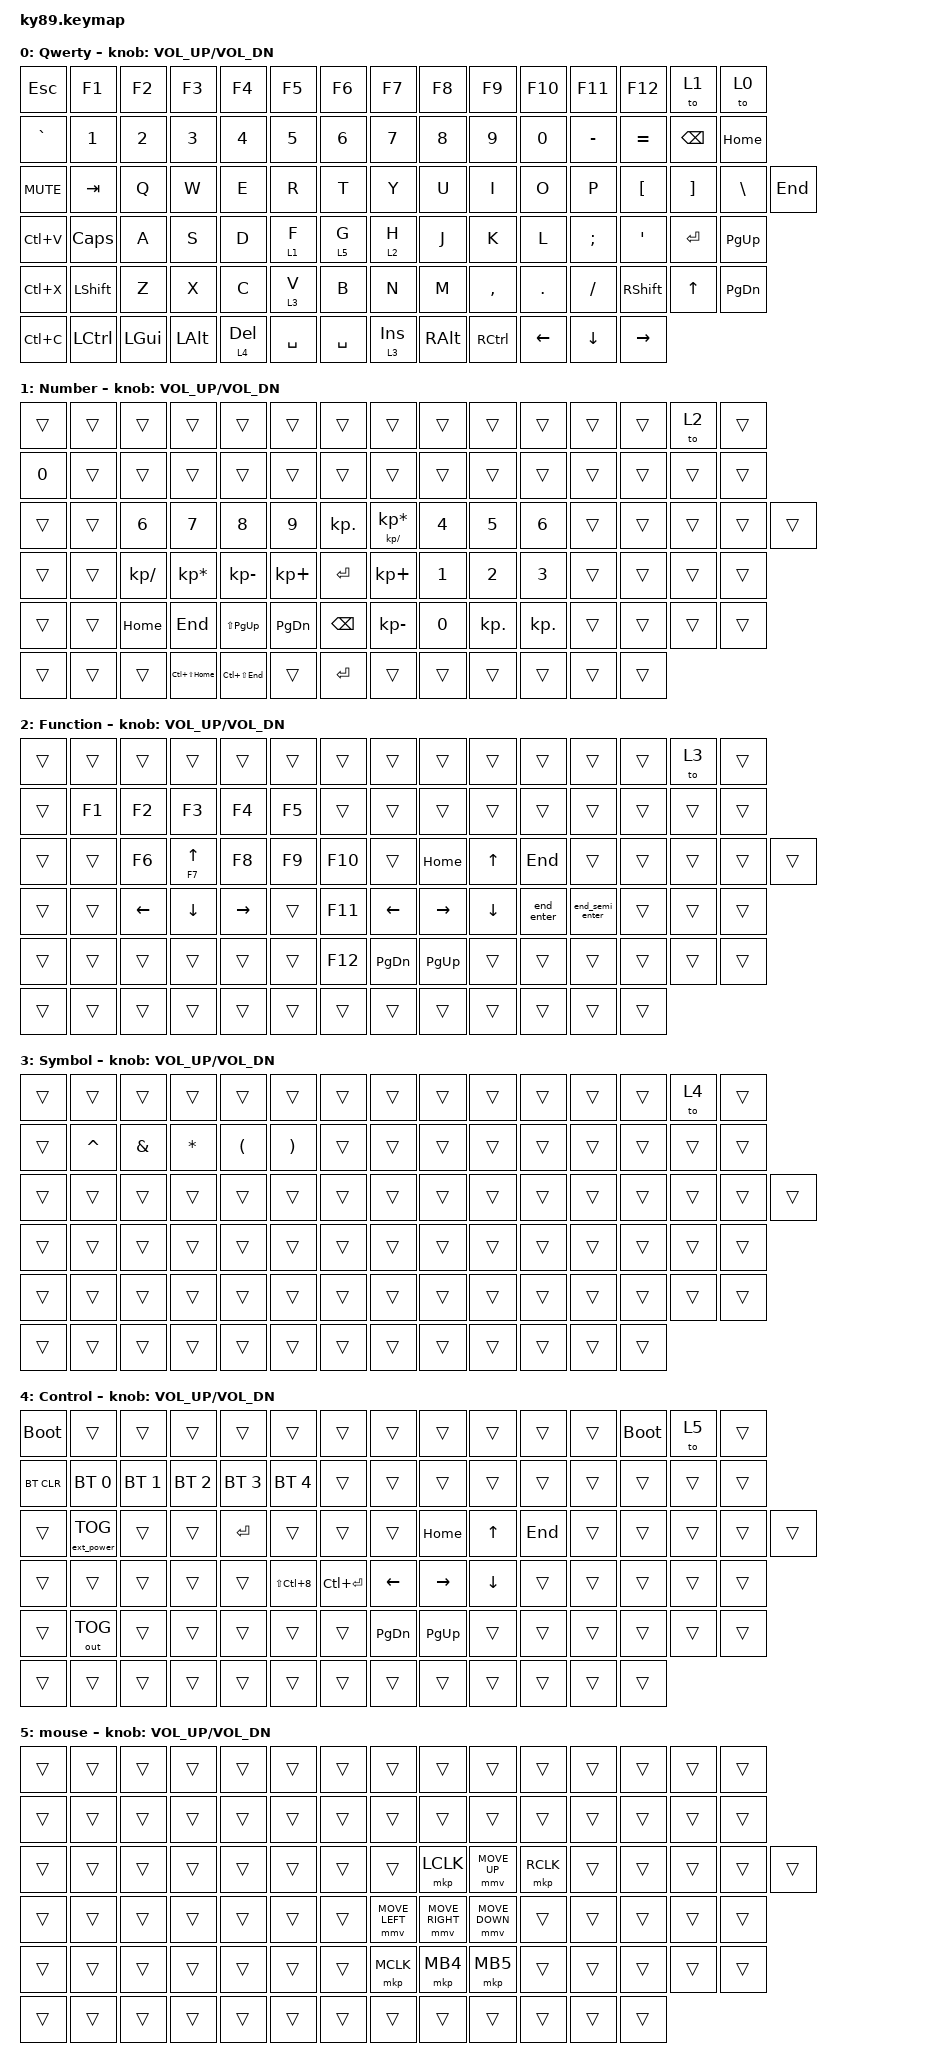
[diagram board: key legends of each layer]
/*
 * Copyright (c) 2023 The ZMK Contributors
 *
 * SPDX-License-Identifier: MIT
 */

#include <behaviors/mouse_keys.dtsi>
#include <dt-bindings/zmk/mouse.h>
#include <behaviors.dtsi>
#include <dt-bindings/zmk/bt.h>
#include <dt-bindings/zmk/ext_power.h>
#include <dt-bindings/zmk/keys.h>
#include <dt-bindings/zmk/outputs.h>
#include <dt-bindings/zmk/pointing.h>
#include <dt-bindings/zmk/pointing.h>

#define ZMK_MOUSE_DEFAULT_MOVE_VAL 1200  // 600
#define ZMK_MOUSE_DEFAULT_SCRL_VAL 20    // 10
#define U_MS_U &mmv MOVE_UP
#define U_MS_D &mmv MOVE_DOWN
#define U_MS_L &mmv MOVE_LEFT
#define U_MS_R &mmv MOVE_RIGHT
#define ZMK_MOUSE_DEFAULT_MOVE_VAL 1200  //  600
#define ZMK_MOUSE_DEFAULT_SCRL_VAL 20    // 10

/ {
    macros {
        end_enter: end_enter {
            compatible = "zmk,behavior-macro";
            #binding-cells = <0>;
            bindings = <&kp END &kp ENTER>;
            label = "END_ENTER";
        };

        end_semi_enter: end_semi_enter {
            compatible = "zmk,behavior-macro";
            #binding-cells = <0>;
            bindings = <&kp END &kp SEMI &kp ENTER>;
            label = "END_SEMI_ENTER";
        };
    };

    behaviors {
        hm: homerow_mods {
            compatible = "zmk,behavior-hold-tap";
            #binding-cells = <2>;
            tapping-term-ms = <200>;
            quick-tap-ms = <0>;
            flavor = "tap-preferred";
            bindings = <&kp>, <&kp>;

            label = "HOMEROW_MODS";
        };

        ltq: ltq {
            compatible = "zmk,behavior-hold-tap";
            label = "LTQ";
            bindings = <&mo>, <&kp>;

            #binding-cells = <2>;
            tapping-term-ms = <500>;
            quick-tap-ms = <200>;
            flavor = "tap-preferred";
        };

        as: auto_shift {
            compatible = "zmk,behavior-hold-tap";
            #binding-cells = <2>;
            tapping-term-ms = <200>;
            quick-tap-ms = <0>;
            label = "AUTO_SHIFT";
            flavor = "tap-preferred";
            bindings = <&kp>, <&kp>;
        };
    };

    combos {
        compatible = "zmk,combos";

        esc {
            bindings = <&kp ESCAPE>;
            key-positions = <15 16>;
        };

        bkt_left {
            bindings = <&mt RIGHT_BRACKET LEFT_BRACKET>;
            key-positions = <35 36>;
        };

        bkt_right {
            bindings = <&mt LEFT_BRACKET RIGHT_BRACKET>;
            key-positions = <37 38>;
        };

        par_left {
            bindings = <&mt RIGHT_PARENTHESIS LEFT_PARENTHESIS>;
            key-positions = <18 19>;
        };

        par_right {
            bindings = <&mt LEFT_PARENTHESIS RIGHT_PARENTHESIS>;
            key-positions = <24 25>;
            timeout-ms = <200>;
        };

        brace_left {
            bindings = <&mt RIGHT_BRACE LEFT_BRACE>;
            key-positions = <32 33>;
        };

        brace_right {
            bindings = <&mt LEFT_BRACE RIGHT_BRACE>;
            key-positions = <43 42>;
        };

        bac_pipe {
            bindings = <&mt PIPE BACKSLASH>;
            key-positions = <32 31>;
        };

        minus_under_left {
            bindings = <&mt UNDER MINUS>;
            key-positions = <16 17>;
        };

        comma_dot {
            bindings = <&mt DOT COMMA>;
            key-positions = <65 66>;
        };

        bslh_fslh {
            bindings = <&mt BSLH SLASH>;
            key-positions = <65 64>;
        };

        minus_under_right {
            bindings = <&mt UNDER MINUS>;
            key-positions = <27 26>;
        };

        enter {
            bindings = <&kp ENTER>;
            key-positions = <54 55>;
            timeout-ms = <200>;
        };

        question {
            bindings = <&kp QUESTION>;
            key-positions = <63 64>;
            timeout-ms = <200>;
        };
    };

    keymap {
        compatible = "zmk,keymap";

        qwerty_layer {
            //  ---------------------------------------------------------------------------------
            //  |      |as GRAVE ESC|F1      |F2      |F3       |F4         |F5  |F6  |    |F7  |F8         |F9       |F10     |F11        |F12         |&to 1|    |C_MUTE|
            //  |      |as ESC GRAVE|N1      |N2      |N3       |N4         |N5  |N6  |    |N7  |N8         |N9       |N0      |MINUS      |A_PLUS EQUAL|BSPC |    |HOME  |
            //  |C_MUTE|TAB         |Q       |W       |E        |R          |T   |    |    |Y   |U          |I        |O       |P          |LBKT        |RBKT |BSLH|END   |
            //  |1     |CAPS        |H_LGUI A|H_LALT S|H_LCTRL D|H_LSHF F   |G   |    |    |H   |H_RSHF J   |H_RCTRL K|H_RALT L|H_RGUI SEMI|SQT         |ENTER|    |PG_UP |
            //  |2     |LSHIFT      |Z       |X       |C        |V          |B   |    |    |N   |M          |COMMA    |DOT     |FSLH       |RSHIFT      |UP   |    |PG_DN |
            //  |3     |LCTRL       |LGUI    |LALT    |&lt 2 DEL|&lt 1 SPACE|    |    |    |    |&lt 1 SPACE|&lt 3 INS|RALT    |RCTRL      |LEFT        |DOWN |    |RIGHT |

            bindings = <
&kp ESCAPE  &kp F1      &kp F2    &kp F3    &kp F4     &kp F5     &kp F6     &kp F7     &kp F8    &kp F9     &kp F10   &kp F11        &kp F12     &to 1      &to 0
&kp GRAVE   &kp N1      &kp N2    &kp N3    &kp N4     &kp N5     &kp N6     &kp N7     &kp N8    &kp N9     &kp N0    &kp MINUS      &kp EQUAL   &kp BSPC   &kp HOME
&kp C_MUTE  &kp TAB     &kp Q     &kp W     &kp E      &kp R      &kp T      &kp Y      &kp U     &kp I      &kp O     &kp P          &kp LBKT    &kp RBKT   &kp BSLH   &kp END
&kp LC(V)   &kp CAPS    &kp A     &kp S     &kp D      &lt 1 F    &lt 5 G    &lt 2 H    &kp J     &kp K      &kp L     &kp SEMICOLON  &kp SQT     &kp ENTER  &kp PG_UP
&kp LC(X)   &kp LSHIFT  &kp Z     &kp X     &kp C      &lt 3 V    &kp B      &kp N      &kp M     &kp COMMA  &kp DOT   &kp FSLH       &kp RSHIFT  &kp UP     &kp PG_DN
&kp LC(C)   &kp LCTRL   &kp LGUI  &kp LALT  &lt 4 DEL  &kp SPACE  &kp SPACE  &lt 3 INS  &kp RALT  &kp RCTRL  &kp LEFT  &kp DOWN       &kp RIGHT
            >;

            label = "Qwerty";
            sensor-bindings = <&inc_dec_kp C_VOL_UP C_VOL_DN>;
        };

        number_layer {
            //  ---------------------------------------------------------------------------------
            //  |    |    |    |    |    |    |     |    |    |    |     |    |    |    |    |&to 2|    |    |
            //  |    |    |    |    |    |    |     |    |    |7   |8    |9   |    |    |    |     |    |    |
            //  |    |    |N7  |N8  |N9  |N0  |DOT  |    |    |NLCK|4    |5   |6   |    |    |     |    |    |
            //  |    |    |    |    |    |    |ENTER|    |    |PLUS|1    |2   |3   |    |    |     |    |    |
            //  |    |    |    |    |    |    |BSPC |    |    |0   |0    |DOT |DOT |    |    |     |    |    |
            //  |    |    |    |    |    |    |     |    |    |    |ENTER|    |    |    |    |     |    |    |

            bindings = <
&trans  &trans  &trans         &trans            &trans           &trans         &trans      &trans                     &trans  &trans      &trans      &trans  &trans  &to 2   &trans
&kp N0  &trans  &trans         &trans            &trans           &trans         &trans      &trans                     &trans  &trans      &trans      &trans  &trans  &trans  &trans
&trans  &trans  &kp N6         &kp N7            &kp N8           &kp N9         &kp KP_DOT  &mt KP_DIVIDE KP_MULTIPLY  &kp N4  &kp N5      &kp N6      &trans  &trans  &trans  &trans  &trans
&trans  &trans  &kp KP_DIVIDE  &kp KP_MULTIPLY   &kp KP_SUBTRACT  &kp KP_PLUS    &kp ENTER   &kp KP_PLUS                &kp N1  &kp N2      &kp N3      &trans  &trans  &trans  &trans
&trans  &trans  &kp HOME       &kp END           &kp LS(PAGE_UP)  &kp PAGE_DOWN  &kp BSPC    &kp KP_MINUS               &kp N0  &kp KP_DOT  &kp KP_DOT  &trans  &trans  &trans  &trans
&trans  &trans  &trans         &kp LC(LS(HOME))  &kp LC(LS(END))  &trans         &kp ENTER   &trans                     &trans  &trans      &trans      &trans  &trans
            >;

            label = "Number";
            sensor-bindings = <&inc_dec_kp C_VOL_UP C_VOL_DN>;
        };

        function_layer {
            //  ---------------------------------------------------------------------------------
            //  |    |    |    |    |    |    |    |    |    |    |    |    |    |    |    |    |    |    |
            //  |    |    |    |    |    |    |    |    |    |    |    |    |    |    |    |    |    |    |
            //  |    |    |    |    |    |    |    |    |    |    |    |    |    |    |    |    |    |    |
            //  |    |    |    |    |    |    |    |    |    |    |    |    |    |    |    |    |    |    |
            //  |    |    |    |    |    |    |    |    |    |    |    |    |    |    |    |    |    |    |
            //  |    |    |    |    |    |    |    |    |    |    |    |    |    |    |    |    |    |    |

            bindings = <
&trans  &trans  &trans          &trans           &trans           &trans  &trans   &trans          &trans           &trans          &trans      &trans           &trans  &to 3   &trans
&trans  &kp F1  &kp F2          &kp F3           &kp F4           &kp F5  &trans   &trans          &trans           &trans          &trans      &trans           &trans  &trans  &trans
&trans  &trans  &kp F6          &mt F7 UP_ARROW  &kp F8           &kp F9  &kp F10  &trans          &kp HOME         &kp UP_ARROW    &kp END     &trans           &trans  &trans  &trans  &trans
&trans  &trans  &kp LEFT_ARROW  &kp DOWN_ARROW   &kp RIGHT_ARROW  &trans  &kp F11  &kp LEFT_ARROW  &kp RIGHT_ARROW  &kp DOWN_ARROW  &end_enter  &end_semi_enter  &trans  &trans  &trans
&trans  &trans  &trans          &trans           &trans           &trans  &kp F12  &kp PG_DN       &kp PG_UP        &trans          &trans      &trans           &trans  &trans  &trans
&trans  &trans  &trans          &trans           &trans           &trans  &trans   &trans          &trans           &trans          &trans      &trans           &trans
            >;

            label = "Function";
            sensor-bindings = <&inc_dec_kp C_VOL_UP C_VOL_DN>;
        };

        symbol_layer {
            //  ---------------------------------------------------------------------------------
            //  |    |    |    |    |    |    |    |    |    |    |    |    |    |    |    |    |    |    |
            //  |    |    |    |    |    |    |    |    |    |    |    |    |    |    |    |    |    |    |
            //  |    |    |    |    |    |    |    |    |    |    |    |    |    |    |    |    |    |    |
            //  |    |    |    |    |    |    |    |    |    |    |    |    |    |    |    |    |    |    |
            //  |    |    |    |    |    |    |    |    |    |    |    |    |    |    |    |    |    |    |
            //  |    |    |    |    |    |    |    |    |    |    |    |    |    |    |    |    |    |    |

            bindings = <
&trans  &trans     &trans    &trans    &trans    &trans    &trans  &trans  &trans  &trans  &trans  &trans  &trans  &to 4   &trans
&trans  &kp CARET  &kp AMPS  &kp STAR  &kp LPAR  &kp RPAR  &trans  &trans  &trans  &trans  &trans  &trans  &trans  &trans  &trans
&trans  &trans     &trans    &trans    &trans    &trans    &trans  &trans  &trans  &trans  &trans  &trans  &trans  &trans  &trans  &trans
&trans  &trans     &trans    &trans    &trans    &trans    &trans  &trans  &trans  &trans  &trans  &trans  &trans  &trans  &trans
&trans  &trans     &trans    &trans    &trans    &trans    &trans  &trans  &trans  &trans  &trans  &trans  &trans  &trans  &trans
&trans  &trans     &trans    &trans    &trans    &trans    &trans  &trans  &trans  &trans  &trans  &trans  &trans
            >;

            label = "Symbol";
            sensor-bindings = <&inc_dec_kp C_VOL_UP C_VOL_DN>;
        };

        control_layer {
            //  ---------------------------------------------------------------------------------
            //  |    |&bootloader|        |        |        |        |        |&soft_off|    |&soft_off|     |     |     |    |&bootloader|&to 0|    |    |
            //  |    |BT_CLR     |BT_SEL 0|BT_SEL 1|BT_SEL 2|BT_SEL 3|BT_SEL 4|         |    |         |     |     |     |    |           |     |    |    |
            //  |    |EP_TOG     |        |        |ENTER   |        |        |         |    |         |HOME |UP   |END  |    |           |     |    |    |
            //  |    |           |        |        |        |        |        |         |    |         |LEFT |DOWN |RIGHT|    |           |     |    |    |
            //  |    |OUT_TOG    |        |        |        |        |        |         |    |         |PG_DN|PG_UP|     |    |           |     |    |    |
            //  |    |           |        |        |        |        |        |         |    |         |     |     |     |    |           |     |    |    |

            bindings = <
&bootloader  &trans             &trans        &trans        &trans        &trans          &trans         &trans     &trans     &trans    &trans   &trans  &bootloader  &to 5   &trans
&bt BT_CLR   &bt BT_SEL 0       &bt BT_SEL 1  &bt BT_SEL 2  &bt BT_SEL 3  &bt BT_SEL 4    &trans         &trans     &trans     &trans    &trans   &trans  &trans       &trans  &trans
&trans       &ext_power EP_TOG  &trans        &trans        &kp ENTER     &trans          &trans         &trans     &kp HOME   &kp UP    &kp END  &trans  &trans       &trans  &trans  &trans
&trans       &trans             &trans        &trans        &trans        &kp LS(LC(N8))  &kp LC(ENTER)  &kp LEFT   &kp RIGHT  &kp DOWN  &trans   &trans  &trans       &trans  &trans
&trans       &out OUT_TOG       &trans        &trans        &trans        &trans          &trans         &kp PG_DN  &kp PG_UP  &trans    &trans   &trans  &trans       &trans  &trans
&trans       &trans             &trans        &trans        &trans        &trans          &trans         &trans     &trans     &trans    &trans   &trans  &trans
            >;

            label = "Control";
            sensor-bindings = <&inc_dec_kp C_VOL_UP C_VOL_DN>;
        };

        mouse_layer {
            //  ---------------------------------------------------------------------------------
            //  |    |    |    |    |    |    |    |    |    |              |               |              |         |    |    |    |    |    |
            //  |    |    |    |    |    |    |    |    |    |              |               |              |         |    |    |    |    |    |
            //  |    |    |    |    |    |    |    |    |    |              |&mkp LCLK      |&mmv MOVE_UP  |&mkp RCLK|    |    |    |    |    |
            //  |    |    |    |    |    |    |    |    |    |&mmv MOVE_LEFT|&mmv MOVE_RIGHT|&mmv MOVE_DOWN|         |    |    |    |    |    |
            //  |    |    |    |    |    |    |    |    |    |&mkp MCLK     |&mkp MB4       |&mkp MB5      |         |    |    |    |    |    |
            //  |    |    |    |    |    |    |    |    |    |              |               |              |         |    |    |    |    |    |

            bindings = <
&trans  &trans  &trans  &trans  &trans  &trans  &trans  &trans          &trans           &trans          &trans     &trans  &trans  &trans  &trans
&trans  &trans  &trans  &trans  &trans  &trans  &trans  &trans          &trans           &trans          &trans     &trans  &trans  &trans  &trans
&trans  &trans  &trans  &trans  &trans  &trans  &trans  &trans          &mkp LCLK        &mmv MOVE_UP    &mkp RCLK  &trans  &trans  &trans  &trans  &trans
&trans  &trans  &trans  &trans  &trans  &trans  &trans  &mmv MOVE_LEFT  &mmv MOVE_RIGHT  &mmv MOVE_DOWN  &trans     &trans  &trans  &trans  &trans
&trans  &trans  &trans  &trans  &trans  &trans  &trans  &mkp MCLK       &mkp MB4         &mkp MB5        &trans     &trans  &trans  &trans  &trans
&trans  &trans  &trans  &trans  &trans  &trans  &trans  &trans          &trans           &trans          &trans     &trans  &trans
            >;

            label = "mouse";
            sensor-bindings = <&inc_dec_kp C_VOL_UP C_VOL_DN>;
        };
    };
};
